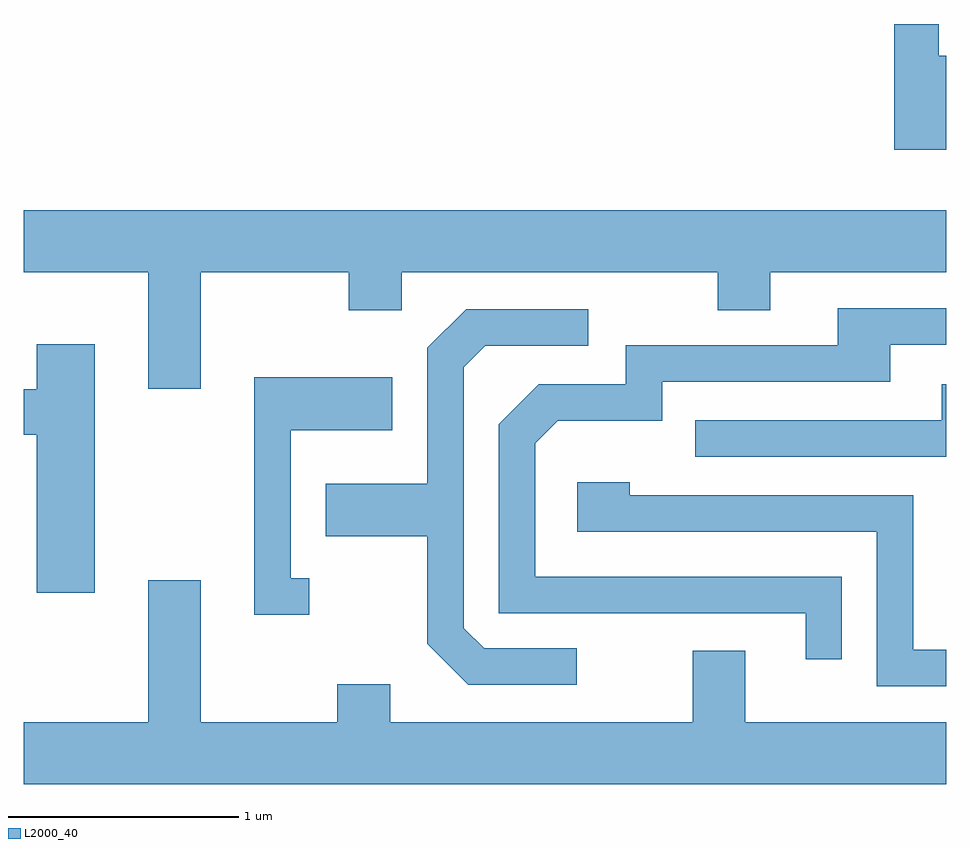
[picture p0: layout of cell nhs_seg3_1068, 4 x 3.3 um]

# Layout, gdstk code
import gdstk
lib = gdstk.Library(unit=1e-6, precision=1e-09)
def P(c, l, *ps):  # polygons
    for p in ps: c.add(gdstk.Polygon(p, *l))
L2000_40 = (2000, 40)

nhs_seg3_1068 = lib.new_cell('nhs_seg3_1068')
P(nhs_seg3_1068, L2000_40, [(219.611,1215.754),(219.579,1215.754),(219.579,1215.892),(219.386,1215.892),(219.386,1215.346),(219.611,1215.346)],
  [(216.379,1214.816),(217.021,1214.816),(217.021,1214.651),(217.249,1214.651),(217.249,1214.816),(218.621,1214.816),(218.621,1214.651),(218.849,1214.651),(218.849,1214.816),(219.611,1214.816),(219.611,1215.084),(215.611,1215.084),(215.611,1214.816),(216.151,1214.816),(216.151,1214.311),(216.379,1214.311)],
  [(219.159,1213.494),(217.829,1213.494),(217.829,1214.074),(217.927,1214.171),(218.379,1214.171),(218.379,1214.341),(219.369,1214.341),(219.369,1214.501),(219.611,1214.501),(219.611,1214.659),(219.141,1214.659),(219.141,1214.499),(218.221,1214.499),(218.221,1214.329),(217.844,1214.329),(217.671,1214.157),(217.671,1213.336),(219.001,1213.336),(219.001,1213.138),(219.159,1213.138)],
  [(218.008,1213.184),(217.607,1213.184),(217.519,1213.272),(217.519,1214.404),(217.612,1214.496),(218.058,1214.496),(218.058,1214.654),(217.529,1214.654),(217.361,1214.487),(217.361,1213.899),(216.921,1213.899),(216.921,1213.671),(217.361,1213.671),(217.361,1213.204),(217.539,1213.026),(218.008,1213.026)],
  [(215.919,1214.504),(215.666,1214.504),(215.666,1214.309),(215.611,1214.309),(215.611,1214.111),(215.666,1214.111),(215.666,1213.426),(215.919,1213.426)],
  [(216.848,1213.489),(216.769,1213.489),(216.769,1214.131),(217.209,1214.131),(217.209,1214.359),(216.611,1214.359),(216.611,1213.331),(216.848,1213.331)],
  [(219.611,1214.329),(219.591,1214.329),(219.591,1214.174),(218.523,1214.174),(218.523,1214.016),(219.611,1214.016)],
  [(219.611,1213.179),(219.469,1213.179),(219.469,1213.849),(218.239,1213.849),(218.239,1213.904),(218.011,1213.904),(218.011,1213.691),(219.311,1213.691),(219.311,1213.021),(219.611,1213.021)],
  [(219.611,1212.864),(218.739,1212.864),(218.739,1213.174),(218.511,1213.174),(218.511,1212.864),(217.199,1212.864),(217.199,1213.029),(216.971,1213.029),(216.971,1212.864),(216.379,1212.864),(216.379,1213.479),(216.151,1213.479),(216.151,1212.864),(215.611,1212.864),(215.611,1212.596),(219.611,1212.596)])

lib.write_gds('nhs_seg3_1068.gds')
